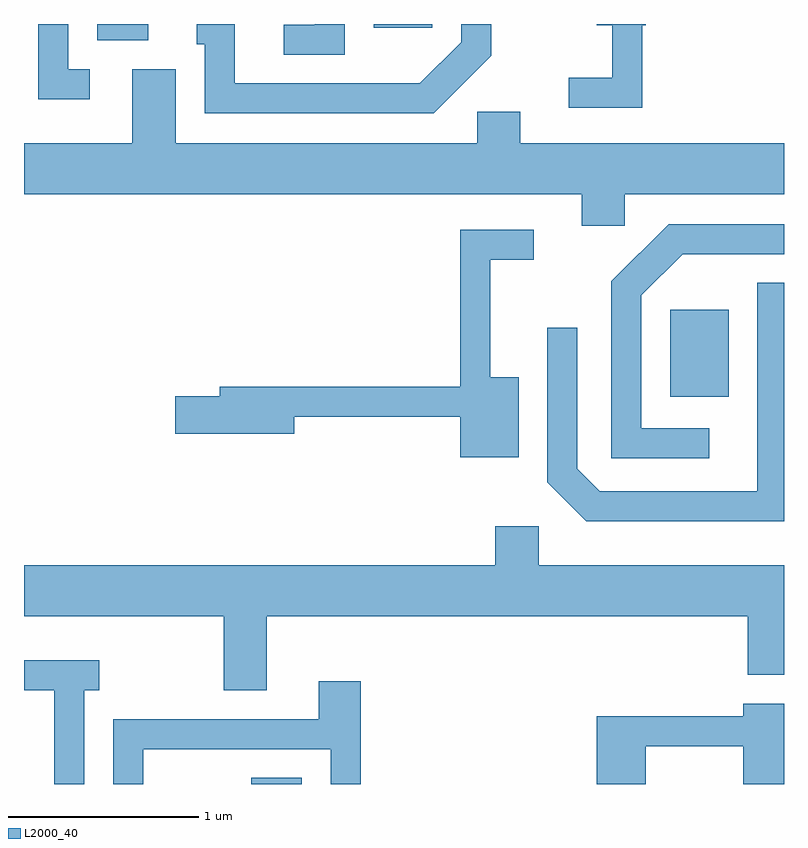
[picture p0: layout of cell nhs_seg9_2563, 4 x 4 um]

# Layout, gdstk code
import gdstk
lib = gdstk.Library(unit=1e-6, precision=1e-09)
def R(c, l, rs):  # rectangles x0, y0, x1, y1
    for r in rs: c.add(gdstk.rectangle(r[:2], r[2:], *l))
def P(c, l, *ps):  # polygons
    for p in ps: c.add(gdstk.Polygon(p, *l))
L2000_40 = (2000, 40)

nhs_seg9_2563 = lib.new_cell('nhs_seg9_2563')
R(nhs_seg9_2563, L2000_40, [(260.806,2046.432,261.074,2046.464), (263.011,2048.471,263.319,2048.929), (259.996,2050.346,260.264,2050.432), (261.451,2050.411,261.759,2050.432)])
P(nhs_seg9_2563, L2000_40, [(262.864,2050.426),(262.884,2050.426),(262.884,2050.432),(262.626,2050.432),(262.626,2050.426),(262.706,2050.426),(262.706,2050.149),(262.478,2050.149),(262.478,2049.991),(262.864,2049.991)],
  [(261.299,2050.432),(261.141,2050.432),(261.141,2050.429),(260.978,2050.429),(260.978,2050.271),(261.299,2050.271)],
  [(262.069,2050.264),(262.069,2050.432),(261.911,2050.432),(261.911,2050.337),(261.694,2050.119),(260.719,2050.119),(260.719,2050.432),(260.521,2050.432),(260.521,2050.326),(260.561,2050.326),(260.561,2049.961),(261.767,2049.961)],
  [(259.957,2050.194),(259.844,2050.194),(259.844,2050.432),(259.686,2050.432),(259.686,2050.036),(259.957,2050.036)],
  [(262.774,2049.536),(263.611,2049.536),(263.611,2049.804),(262.224,2049.804),(262.224,2049.969),(261.996,2049.969),(261.996,2049.804),(260.409,2049.804),(260.409,2050.194),(260.181,2050.194),(260.181,2049.804),(259.611,2049.804),(259.611,2049.536),(262.546,2049.536),(262.546,2049.371),(262.774,2049.371)],
  [(263.218,2048.304),(262.859,2048.304),(262.859,2049.004),(263.077,2049.221),(263.611,2049.221),(263.611,2049.379),(263.004,2049.379),(262.701,2049.077),(262.701,2048.146),(263.218,2048.146)],
  [(262.214,2048.574),(262.064,2048.574),(262.064,2049.191),(262.293,2049.191),(262.293,2049.349),(261.906,2049.349),(261.906,2048.524),(260.641,2048.524),(260.641,2048.474),(260.406,2048.474),(260.406,2048.276),(261.034,2048.276),(261.034,2048.366),(261.906,2048.366),(261.906,2048.151),(262.214,2048.151)],
  [(263.611,2049.069),(263.471,2049.069),(263.471,2047.974),(262.642,2047.974),(262.524,2048.092),(262.524,2048.833),(262.366,2048.833),(262.366,2048.019),(262.569,2047.816),(263.611,2047.816)],
  [(260.889,2047.316),(263.421,2047.316),(263.421,2047.006),(263.611,2047.006),(263.611,2047.584),(262.319,2047.584),(262.319,2047.789),(262.091,2047.789),(262.091,2047.584),(259.611,2047.584),(259.611,2047.316),(260.661,2047.316),(260.661,2046.926),(260.889,2046.926)],
  [(259.929,2046.926),(260.008,2046.926),(260.008,2047.084),(259.611,2047.084),(259.611,2046.926),(259.771,2046.926),(259.771,2046.432),(259.929,2046.432)],
  [(260.239,2046.616),(261.226,2046.616),(261.226,2046.432),(261.384,2046.432),(261.384,2046.974),(261.161,2046.974),(261.161,2046.774),(260.081,2046.774),(260.081,2046.432),(260.239,2046.432)],
  [(262.884,2046.631),(263.396,2046.631),(263.396,2046.432),(263.611,2046.432),(263.611,2046.854),(263.396,2046.854),(263.396,2046.789),(262.626,2046.789),(262.626,2046.432),(262.884,2046.432)])

lib.write_gds('nhs_seg9_2563.gds')
